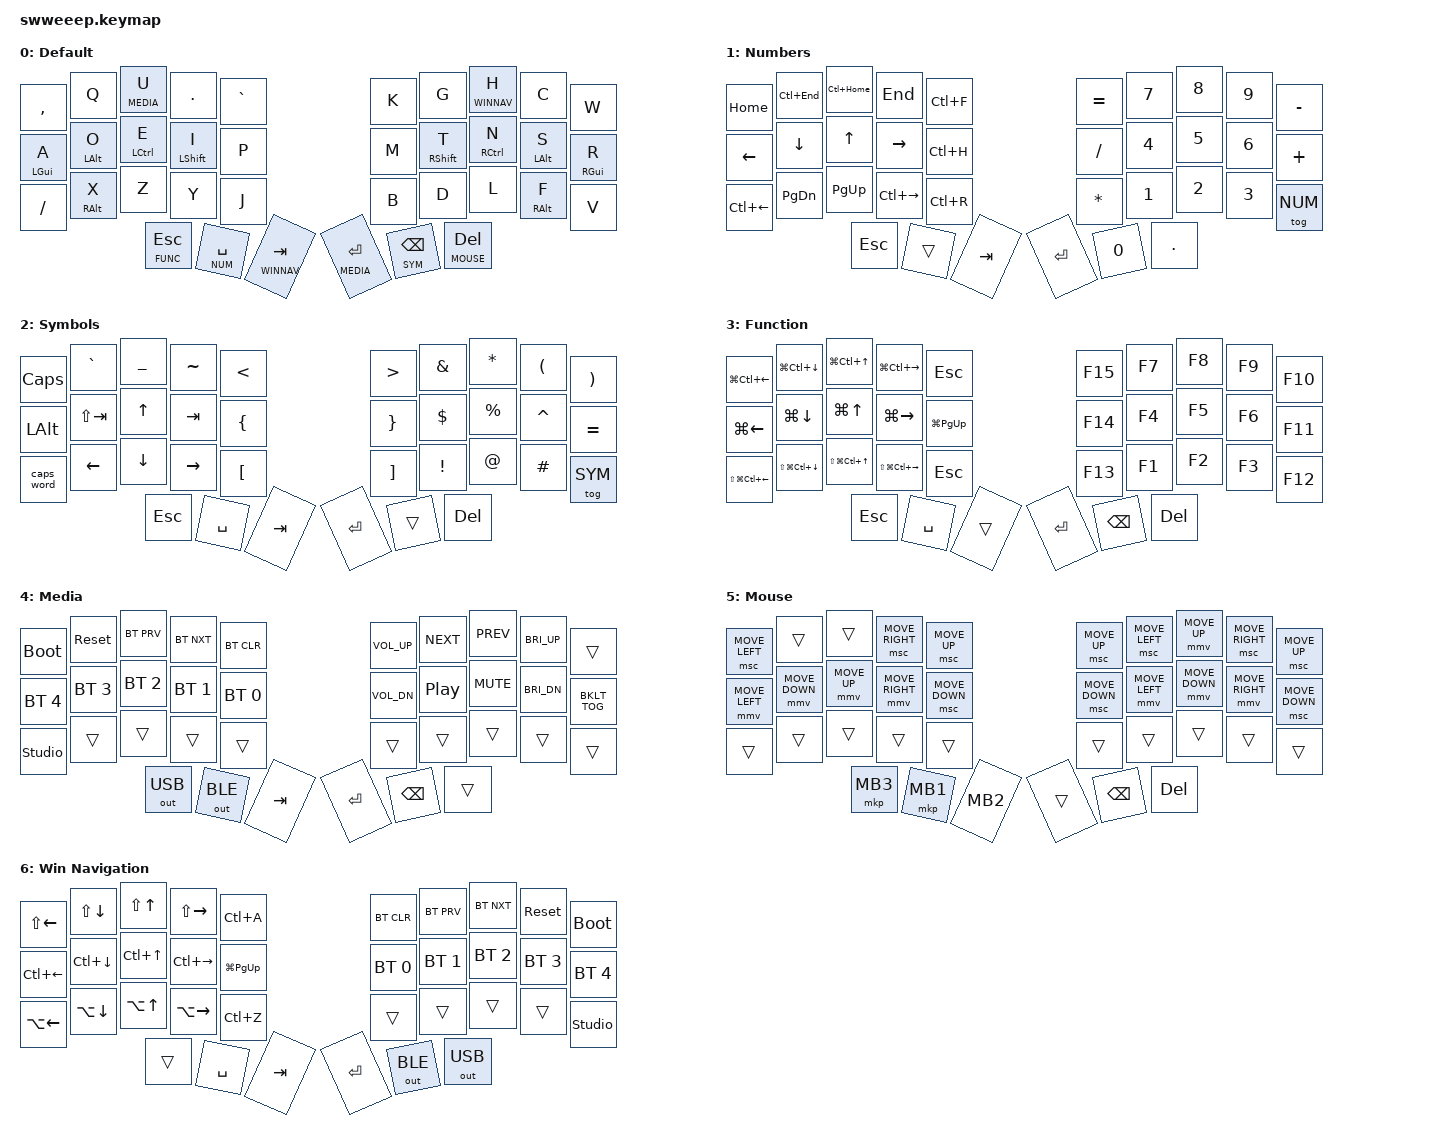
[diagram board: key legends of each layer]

#include <behaviors.dtsi>
#include <dt-bindings/zmk/bt.h>
#include <dt-bindings/zmk/keys.h>
#include <dt-bindings/zmk/mouse.h>
#include <dt-bindings/zmk/outputs.h>

#define DEFAULT 0
#define NUM     1
#define SYM     2
#define FUNC    3
#define MEDIA   4
#define MOUSE   5
#define WINNAV  6

#define AS(keycode) &as LS(keycode) keycode

&caps_word {
    continue-list = <UNDERSCORE MINUS BSPC DEL>;
};

/ {
    combos {
        compatible = "zmk,combos";

        combo_vert_UH_N1 {
            bindings = <&kp N1>;
            key-positions = <15 29>;
        };

        combo_vert_UH_N2 {
            bindings = <&kp N2>;
            key-positions = <16 30>;
        };

        combo_vert_UH_N3 {
            bindings = <&kp N3>;
            key-positions = <17 31>;
        };

        combo_vert_UH_N4 {
            bindings = <&kp N4>;
            key-positions = <18 32>;
        };

        combo_vert_UH_N5 {
            bindings = <&kp N5>;
            key-positions = <19 33>;
        };

        combo_vert_UH_N6 {
            bindings = <&kp N6>;
            key-positions = <22 40>;
        };

        combo_vert_UH_N7 {
            bindings = <&kp N7>;
            key-positions = <23 41>;
        };

        combo_vert_UH_N8 {
            bindings = <&kp N8>;
            key-positions = <24 42>;
        };

        combo_vert_UH_N9 {
            bindings = <&kp N9>;
            key-positions = <25 43>;
        };

        combo_vert_UH_N0 {
            bindings = <&kp N0>;
            key-positions = <26 44>;
        };

        combo_vert_HL_exclamation {
            bindings = <&kp EXCLAMATION>;
            key-positions = <29 47>;
        };

        combo_vert_HL_at {
            bindings = <&kp AT>;
            key-positions = <30 48>;
        };

        combo_vert_HL_hash {
            bindings = <&kp HASH>;
            key-positions = <31 49>;
        };

        combo_vert_HL_dollar {
            bindings = <&kp DOLLAR>;
            key-positions = <32 50>;
        };

        combo_vert_HL_percent {
            bindings = <&kp PERCENT>;
            key-positions = <33 51>;
        };

        combo_vert_HL_caret {
            bindings = <&kp CARET>;
            key-positions = <40 54>;
        };

        combo_vert_HL_ampersand {
            bindings = <&kp AMPERSAND>;
            key-positions = <55 41>;
        };

        combo_vert_HL_asterisk {
            bindings = <&kp ASTERISK>;
            key-positions = <56 42>;
        };

        combo_vert_HL_lparen {
            bindings = <&kp LEFT_PARENTHESIS>;
            key-positions = <57 43>;
        };

        combo_vert_HL_rparen {
            bindings = <&kp RIGHT_PARENTHESIS>;
            key-positions = <44 58>;
        };
		
		combo_hori_rside_homerow_comma {
            bindings = <&kp COMMA>;
            key-positions = <37 38>;
        };
		
        combo_less {
            timeout-ms = <50>;
            key-positions = <15 16>;
            bindings = <&kp LT>;
        };
        combo_plus {
            timeout-ms = <50>;
            key-positions = <16 17>;
            bindings = <&kp PLUS>;
        };
        combo_minus {
            timeout-ms = <50>;
            key-positions = <17 18>;
            bindings = <&kp MINUS>;
        };
        combo_lbrace {
            timeout-ms = <50>;
            key-positions = <18 19>;
            bindings = <&kp LBRC>;
        };
        combo_rbrace {
            timeout-ms = <50>;
            key-positions = <22 23>;
            bindings = <&kp RBRC>;
        };
        combo_multiply {
            timeout-ms = <50>;
            key-positions = <23 24>;
            bindings = <&kp STAR>;
        };
        combo_divide {
            timeout-ms = <50>;
            key-positions = <24 25>;
            bindings = <&kp FSLH>;
        };
        combo_more {
            timeout-ms = <50>;
            key-positions = <25 26>;
            bindings = <&kp GT>;
        };

        combo_hrsqt {
            timeout-ms = <50>;
            key-positions = <41 42>;
            bindings = <&kp SQT>;
        };
        comma_hrexclamation {
            timeout-ms = <50>;
            key-positions = <41 43>;
            bindings = <&kp EXCLAMATION>;
        };
        combo_hrcolon{
            timeout-ms = <50>;
            key-positions = <41 44>;
            bindings = <&kp COLON>;
        };
        combo_hrunder {
            timeout-ms = <50>;
            key-positions = <42 43>;
            bindings = <&kp UNDER>;
        };
        combo_hrbslh {
            timeout-ms = <50>;
            key-positions = <42 44>;
            bindings = <&kp BSLH>;
        };
        combo_hrdot {
            timeout-ms = <50>;
            key-positions = <43 44>;
            bindings = <&kp DOT>;
        };
        combo_hrlpar {
            timeout-ms = <50>;
            key-positions = <44 45>;
            bindings = <&kp LPAR>;
        };

        combo_hrrpar {
            timeout-ms = <50>;
            key-positions = <15 16>;
            bindings = <&kp RPAR>;
        };
        combo_hrcomma {
            timeout-ms = <50>;
            key-positions = <16 17>;
            bindings = <&kp COMMA>;
        };
        comma_hrfslh {
            timeout-ms = <50>;
            key-positions = <16 18>;
            bindings = <&kp FSLH>;
        };
        comma_hrsemi {
            timeout-ms = <50>;
            key-positions = <16 19>;
            bindings = <&kp SEMI>;
        };
        combo_hrdash {
            timeout-ms = <50>;
            key-positions = <17 18>;
            bindings = <&kp MINUS>;
        };
        combo_hrqmark{
            timeout-ms = <50>;
            key-positions = <17 19>;
            bindings = <&kp QMARK>;
        };
        combo_hrdqt {
            timeout-ms = <50>;
            key-positions = <18 19>;
            bindings = <&kp DQT>;
        };

        combo_cut {
            timeout-ms = <50>;
            key-positions = <20 21>;
            bindings = <&kp LC(X)>;
        };
        combo_copy {
            timeout-ms = <50>;
            key-positions = <21 22>;
            bindings = <&kp LC(C)>;
        };
        combo_paste {
            timeout-ms = <50>;
            key-positions = <22 23>;
            bindings = <&kp LC(V)>;
        };
        combo_lbraket {
            timeout-ms = <50>;
            key-positions = <23 24>;
            bindings = <&kp LBKT>;
        };
        combo_rbraket {
            timeout-ms = <50>;
            key-positions = <25 26>;
            bindings = <&kp RBKT>;
        };
        combo_equal {
            timeout-ms = <50>;
            key-positions = <26 27>;
            bindings = <&kp EQUAL>;
        };
        combo_undo {
            timeout-ms = <50>;
            key-positions = <27 28>;
            bindings = <&kp LC(Z)>;
        };
        combo_redo {
            timeout-ms = <50>;
            key-positions = <28 29>;
            bindings = <&kp LS(LC(Z))>;
        };

        combo_dashspace{
            timeout-ms = <50>;
            key-positions = <30 31>;
            bindings = <&kp MINUS>;
        };
        combo_underspace {
            timeout-ms = <50>;
            key-positions = <31 32>;
            bindings = <&kp UNDER>;
        };
        combo_capsword {
            timeout-ms = <50>;
            key-positions = <33 34>;
            bindings = <&caps_word>;
        };
    };
};

/ {

    behaviors {
        as: auto_shift {
            compatible = "zmk,behavior-hold-tap";
            label = "AUTO_SHIFT";
            #binding-cells = <2>;
            tapping_term_ms = <150>;
            quick_tap_ms = <200>;
            flavor = "tap-preferred";
            bindings = <&kp>, <&kp>;
        };
        lt: layer_tap {
            compatible = "zmk,behavior-hold-tap";
            label = "LAYER_TAP";
            #binding-cells = <2>;
            tapping_term_ms = <200>;
            quick_tap_ms = <200>;
            flavor = "tap-preferred";
            bindings = <&mo>, <&kp>;
        };
        hm: homerow_mods {
            compatible = "zmk,behavior-hold-tap";
            label = "HOMEROW_MODS";
            #binding-cells = <2>;
            tapping-term-ms = <200>;
            quick_tap_ms = <0>;
            flavor = "balanced";
            bindings = <&kp>, <&kp>;
        };
        hs: homerow_shift {
            compatible = "zmk,behavior-hold-tap";
            label = "HOMEROW_SHIFT";
            #binding-cells = <2>;
            tapping-term-ms = <175>;
            quick_tap_ms = <0>;
            flavor = "balanced";
            bindings = <&kp>, <&kp>;
        };
    };

    keymap {
        compatible = "zmk,keymap";

        default_layer {
            label = "Default";

            bindings = <
    &kp COMMA   &kp Q       &lt MEDIA U  &kp DOT         &kp GRAVE                                               &kp K         &kp G            &lt WINNAV H  &kp C       &kp W
    &hm LGUI A  &hm LALT O  &hm LCTRL E  &hs LSHIFT I    &kp P                                                   &kp M         &hs RSHIFT T     &hm RCTRL N   &hm LALT S  &hm RGUI R
    &kp SLASH   &hm RALT X  &kp Z        &kp Y           &kp J                                                   &kp B         &kp D            &kp L         &hm RALT F  &kp V
                                         &lt FUNC ESC    &lt NUM SPACE  &lt WINNAV TAB        &lt MEDIA RETURN   &lt SYM BKSP  &lt MOUSE DEL
            >;
        };

        num_layer {
            label = "Numbers";

            bindings = <
    &kp HOME     &kp LC(END) &kp LC(HOME) &kp END       &kp LC(F)                                     &kp EQUAL &kp N7    &kp N8    &kp N9    &kp MINUS
    &kp LEFT     &kp DOWN     &kp UP      &kp RIGHT     &kp LC(H)                                     &kp FSLH  &kp N4    &kp N5    &kp N6    &kp PLUS
    &kp LC(LEFT) &kp PG_DN    &kp PG_UP   &kp LC(RIGHT) &kp LC(R)                                     &kp ASTRK &kp N1    &kp N2    &kp N3    &tog NUM
                                          &kp ESC       &trans    &kp TAB                  &kp RET    &kp N0    &kp DOT
            >;
        };

        sym_layer {
            label = "Symbols";

            bindings = <
    &kp CAPS   &kp GRAVE   &kp UNDER   &kp TILDE     &kp LT                                      &kp GT        &kp AMPS       &kp ASTRK     &kp LPAR    &kp RPAR
    &kp LALT   &kp LS(TAB) &kp UP      &kp TAB       &kp LBRC                                    &kp RBRC      &kp DLLR       &kp PRCNT     &kp CARET   &kp EQUAL
    &caps_word &kp LEFT    &kp DOWN    &kp RIGHT     &kp LBKT                                    &kp RBKT      &kp EXCL       &kp AT        &kp HASH    &tog SYM
                                       &kp ESC       &kp SPACE      &kp TAB        &kp RET       &trans        &kp DEL
            >;
        };

        func_layer {
            label = "Function";

            bindings = <
    &kp LG(LC(LEFT))     &kp LG(LC(DOWN))     &kp LG(LC(UP))     &kp LG(LC(RIGHT))     &kp ESC                                         &kp F15     &kp F7       &kp F8        &kp F9      &kp F10
    &kp LG(LEFT)         &kp LG(DOWN)         &kp LG(UP)         &kp LG(RIGHT)         &kp LG(PG_UP)                                   &kp F14     &kp F4       &kp F5        &kp F6      &kp F11
    &kp LS(LG(LC(LEFT))) &kp LS(LG(LC(DOWN))) &kp LS(LG(LC(UP))) &kp LS(LG(LC(RIGHT))) &kp ESC                                         &kp F13     &kp F1       &kp F2        &kp F3      &kp F12
                                                                 &kp ESC               &kp SPACE          &trans      &kp RET          &kp BSPC    &kp DEL
            >;
        };

        media_layer {
            label = "Media";

            bindings = <
    &bootloader      &sys_reset       &bt BT_PRV       &bt BT_NXT        &bt BT_CLR                               &kp C_VOL_UP   &kp C_NEXT        &kp C_PREV         &kp C_BRI_UP   &trans
    &bt BT_SEL 4     &bt BT_SEL 3     &bt BT_SEL 2     &bt BT_SEL 1      &bt BT_SEL 0                             &kp C_VOL_DN   &kp C_PLAY_PAUSE  &kp C_MUTE         &kp C_BRI_DN   &kp C_BKLT_TOG
    &studio_unlock   &trans           &trans           &trans            &trans                                   &trans         &trans            &trans             &trans         &trans
                                                       &out OUT_USB      &out OUT_BLE     &kp TAB     &kp RET     &kp BSPC       &trans
            >;
        };

        mouse_layer {
            label = "Mouse";

            bindings = <
    &msc MOVE_LEFT  &trans          &trans        &msc MOVE_RIGHT  &msc MOVE_UP                         &msc MOVE_UP    &msc MOVE_LEFT  &mmv MOVE_UP    &msc MOVE_RIGHT  &msc MOVE_UP
    &mmv MOVE_LEFT  &mmv MOVE_DOWN  &mmv MOVE_UP  &mmv MOVE_RIGHT  &msc MOVE_DOWN                       &msc MOVE_DOWN  &mmv MOVE_LEFT  &mmv MOVE_DOWN  &mmv MOVE_RIGHT  &msc MOVE_DOWN
    &trans          &trans          &trans        &trans           &trans                               &trans          &trans          &trans          &trans           &trans
                                                &mkp MB3         &mkp MB1    &kp MB2     &trans       &kp BSPC        &kp DEL
            >;
        };

        winnav_layer {
            label = "Win Navigation";

            bindings = <
    &kp LS(LEFT)     &kp LS(DOWN)     &kp LS(UP)      &kp LS(RIGHT)     &kp LC(A)                           &bt BT_CLR       &bt BT_PRV       &bt BT_NXT       &sys_reset       &bootloader
    &kp LC(LEFT)     &kp LC(DOWN)     &kp LC(UP)      &kp LC(RIGHT)     &kp LG(PG_UP)                       &bt BT_SEL 0     &bt BT_SEL 1     &bt BT_SEL 2     &bt BT_SEL 3     &bt BT_SEL 4
    &kp LA(LEFT)     &kp LA(DOWN)     &kp LA(UP)      &kp LA(RIGHT)     &kp LC(Z)                           &trans           &trans           &trans           &trans           &studio_unlock
                                                      &trans            &kp SPACE     &kp TAB    &kp RET    &out OUT_BLE     &out OUT_USB
            >;
        };
    };
};
